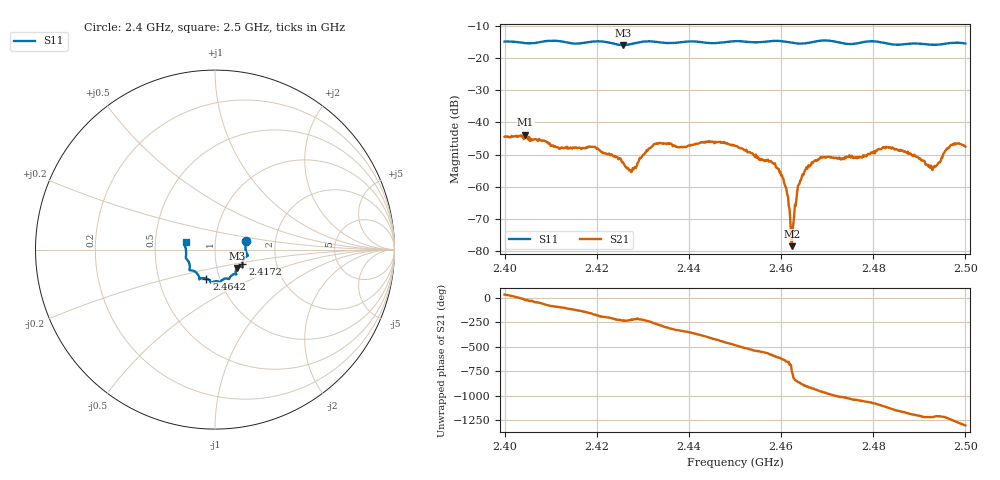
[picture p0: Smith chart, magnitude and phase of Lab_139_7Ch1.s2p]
# Hz S RI R 50
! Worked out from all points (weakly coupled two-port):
!   601 points, 2.4 GHz to 2.5 GHz, reference 50 ohm
!   highest |S21| = -43.84 dB at 2.4045 GHz (marker M1); lowest = -78.5 dB at 2.4623 GHz (marker M2)
!   lowest |S11| = -15.9 dB at 2.4257 GHz (marker M3), VSWR 1.38, Z = 62.4 - j13.1 ohm
!   |S11| at or under -10 dB: start of sweep to end of sweep
!   S12 and S22 are empty: the file has one direction only
!   S11 on the Smith chart (normalised r, x): 2.4 GHz: 1.41, +0.14; 2.4172 GHz: 1.34, -0.22; 2.4642 GHz: 0.86, -0.29; 2.5 GHz: 0.72, +0.06
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2.4e9  0.1736 0.0493  0.00512 0.00309  0 0  0 0
2.4045e9  0.1698 0.0181  0.00585 -0.00268  0 0  0 0
2.411667e9  0.1814 -0.0357  -0.000484 -0.00403  0 0  0 0
2.416667e9  0.153 -0.0751  -0.00282 -0.00263  0 0  0 0
2.417167e9  0.1523 -0.0807  -0.00324 -0.00234  0 0  0 0
2.419833e9  0.1542 -0.0971  -0.00403 -7.44e-05  0 0  0 0
2.425667e9  0.1223 -0.1024  -0.00148 0.0019  0 0  0 0
2.428e9  0.1149 -0.1237  -0.00137 0.00126  0 0  0 0
2.431e9  0.1192 -0.1378  -0.00191 0.00307  0 0  0 0
2.433333e9  0.1126 -0.1366  0.000517 0.00468  0 0  0 0
2.45e9  0.0296 -0.1809  -0.00236 -0.00363  0 0  0 0
2.459e9  -0.0213 -0.184  -0.000844 0.00177  0 0  0 0
2.461e9  -0.0259 -0.1783  0.000338 0.000931  0 0  0 0
2.462333e9  -0.0314 -0.1703  9.66e-05 -6.86e-05  0 0  0 0
2.462667e9  -0.0335 -0.1684  -2.78e-05 -0.00027  0 0  0 0
2.463333e9  -0.0392 -0.1647  -0.00041 -0.000503  0 0  0 0
2.464167e9  -0.0481 -0.1611  -0.00112 -0.000555  0 0  0 0
2.466667e9  -0.0761 -0.1597  -0.00221 0.000936  0 0  0 0
2.483333e9  -0.1407 -0.0895  0.00289 -0.0028  0 0  0 0
2.492833e9  -0.1604 -0.0158  -0.00133 -0.00123  0 0  0 0
2.497167e9  -0.1706 0.0273  -0.00436 -0.000971  0 0  0 0
2.5e9  -0.1635 0.0418  -0.00311 0.00279  0 0  0 0
